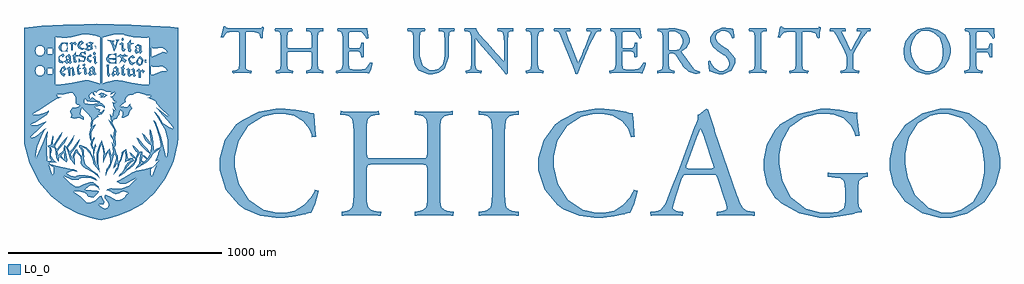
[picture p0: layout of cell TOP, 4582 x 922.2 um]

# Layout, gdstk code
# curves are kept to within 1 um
import gdstk
lib = gdstk.Library(unit=1e-6, precision=1e-09)
def R(c, l, rs):  # rectangles x0, y0, x1, y1
    for r in rs: c.add(gdstk.rectangle(r[:2], r[2:], *l))
def P(c, l, *ps):  # polygons
    for p in ps: c.add(gdstk.Polygon(p, *l))
L0_0 = (0, 0)

top = lib.new_cell('TOP')
R(top, L0_0, [(-1725,287.1,-1717,291.1)])
P(top, L0_0, [(-1929,-461.1),(-1943,-459.1),(-1981,-449.1),(-2037,-431.1),(-2099,-397.1),(-2163,-349.1),(-2221,-281.1),(-2267,-189.1),(-2289,-101.1),(-2291,-73.1),(-2291,443.1),(-2207,451.1),(-2107,457.1),(-1977,459.1),(-1949,461.1),(-1787,457.1),(-1605,447.1),(-1567,443.1),(-1567,413.1),(-2013,413.1),(-2059,401.1),(-2069,397.1),(-2087,395.1),(-2113,395.1),(-2145,399.1),(-2145,359.1),(-2221,359.1),(-2233,351.1),(-2239,335.1),(-2233,319.1),(-2221,311.1),(-2211,311.1),(-2199,319.1),(-2193,335.1),(-2199,351.1),(-2211,359.1),(-2145,359.1),(-2145,347.1),(-2183,347.1),(-2183,319.1),(-2155,319.1),(-2155,347.1),(-2145,347.1),(-2145,265.1),(-2221,265.1),(-2233,257.1),(-2239,241.1),(-2233,225.1),(-2221,217.1),(-2211,217.1),(-2199,225.1),(-2193,241.1),(-2199,257.1),(-2211,265.1),(-2145,265.1),(-2145,253.1),(-2183,253.1),(-2183,225.1),(-2155,225.1),(-2155,253.1),(-2145,253.1),(-2145,175.1),(-2133,175.1),(-2065,185.1),(-2005,197.1),(-1997,197.1),(-1953,187.1),(-1933,179.1),(-1933,397.1),(-1953,405.1),(-1997,413.1),(-1863,413.1),(-1901,403.1),(-1923,395.1),(-1923,179.1),(-1907,187.1),(-1867,197.1),(-1849,197.1),(-1741,177.1),(-1703,175.1),(-1703,397.1),(-1713,395.1),(-1777,397.1),(-1819,407.1),(-1821,409.1),(-1851,413.1),(-1567,413.1),(-1567,351.1),(-1693,351.1),(-1693,309.1),(-1691,307.1),(-1667,315.1),(-1639,329.1),(-1619,325.1),(-1623,337.1),(-1641,349.1),(-1651,349.1),(-1663,345.1),(-1687,347.1),(-1693,351.1),(-1567,351.1),(-1567,263.1),(-1695,263.1),(-1695,221.1),(-1679,223.1),(-1651,235.1),(-1645,239.1),(-1619,237.1),(-1623,249.1),(-1641,261.1),(-1657,259.1),(-1687,259.1),(-1695,263.1),(-1567,263.1),(-1567,151.1),(-1933,151.1),(-1949,141.1),(-1949,137.1),(-1961,141.1),(-1963,139.1),(-1957,123.1),(-1959,123.1),(-1967,129.1),(-1971,139.1),(-1973,137.1),(-2079,137.1),(-2081,135.1),(-2111,127.1),(-2135,131.1),(-2135,135.1),(-2137,131.1),(-2133,117.1),(-2115,115.1),(-2137,109.1),(-2251,37.1),(-2245,35.1),(-2227,35.1),(-2201,41.1),(-2175,53.1),(-2175,49.1),(-2185,35.1),(-2207,17.1),(-2235,-0.9),(-2259,-12.9),(-2253,-14.9),(-2231,-14.9),(-2207,-6.9),(-2191,1.1),(-2187,1.1),(-2257,-67.1),(-2261,-73.1),(-2257,-75.1),(-2239,-69.1),(-2221,-57.1),(-2197,-32.9),(-2187,-28.9),(-2195,-38.9),(-2211,-69.1),(-2229,-113.1),(-2237,-151.1),(-2235,-167.1),(-2233,-169.1),(-2203,-99.1),(-2189,-61.1),(-2181,-44.9),(-2179,-44.9),(-2185,-85.1),(-2185,-139.1),(-2181,-177.1),(-2179,-187.1),(-2177,-185.1),(-2163,-181.1),(-2165,-173.1),(-2167,-173.1),(-2169,-169.1),(-2171,-147.1),(-2169,-127.1),(-2179,-113.1),(-2179,-111.1),(-2165,-107.1),(-2155,-65.1),(-2151,-71.1),(-2153,-73.1),(-2157,-95.1),(-2157,-107.1),(-2153,-109.1),(-2123,-63.1),(-2111,-49.1),(-2123,-77.1),(-2147,-113.1),(-2137,-127.1),(-2091,-71.1),(-2087,-69.1),(-2091,-79.1),(-2107,-105.1),(-2135,-137.1),(-2133,-147.1),(-2133,-159.1),(-2105,-133.1),(-2101,-109.1),(-2091,-115.1),(-2091,-117.1),(-2055,-63.1),(-2067,-95.1),(-2085,-121.1),(-2075,-141.1),(-2041,-95.1),(-2029,-81.1),(-2031,-91.1),(-2041,-109.1),(-2045,-113.1),(-2045,-115.1),(-2059,-135.1),(-2071,-149.1),(-2071,-153.1),(-2061,-179.1),(-2061,-155.1),(-2047,-131.1),(-2041,-127.1),(-2041,-131.1),(-2035,-145.1),(-2021,-161.1),(-2017,-159.1),(-2017,-151.1),(-2021,-133.1),(-2031,-119.1),(-2031,-109.1),(-2023,-109.1),(-1999,-119.1),(-1981,-137.1),(-1973,-157.1),(-1967,-165.1),(-1967,-127.1),(-1971,-125.1),(-1977,-107.1),(-1975,-89.1),(-1979,-85.1),(-1985,-55.1),(-1977,-28.9),(-1975,-26.9),(-1977,-22.9),(-1977,-4.9),(-1973,9.1),(-1975,11.1),(-1975,19.1),(-2015,61.1),(-2017,69.1),(-2025,53.1),(-2027,35.1),(-2011,23.1),(-2011,11.1),(-2031,19.1),(-2053,15.1),(-2071,19.1),(-2067,35.1),(-2071,41.1),(-2073,53.1),(-2061,67.1),(-2061,69.1),(-2049,67.1),(-2031,75.1),(-2029,79.1),(-2041,81.1),(-2047,87.1),(-2047,117.1),(-2063,137.1),(-1973,137.1),(-1985,125.1),(-1983,111.1),(-2001,111.1),(-2007,105.1),(-2009,93.1),(-2005,87.1),(-1975,83.1),(-1943,87.1),(-1939,83.1),(-1947,93.1),(-1951,95.1),(-1981,95.1),(-1995,97.1),(-2001,107.1),(-2001,111.1),(-1983,111.1),(-1983,107.1),(-1979,103.1),(-1979,107.1),(-1971,115.1),(-1957,107.1),(-1957,103.1),(-1951,103.1),(-1937,97.1),(-1929,87.1),(-1925,87.1),(-1911,73.1),(-1911,65.1),(-1913,65.1),(-1923,75.1),(-1941,77.1),(-1945,73.1),(-1959,71.1),(-1949,61.1),(-1947,63.1),(-1943,63.1),(-1933,57.1),(-1939,45.1),(-1927,45.1),(-1917,57.1),(-1915,57.1),(-1915,53.1),(-1927,37.1),(-1947,31.1),(-1939,25.1),(-1945,25.1),(-1965,7.1),(-1971,-18.9),(-1959,-12.9),(-1955,-12.9),(-1975,-49.1),(-1975,-79.1),(-1971,-83.1),(-1963,-73.1),(-1963,-71.1),(-1959,-75.1),(-1965,-91.1),(-1969,-95.1),(-1971,-109.1),(-1963,-121.1),(-1961,-119.1),(-1957,-103.1),(-1951,-117.1),(-1957,-119.1),(-1963,-153.1),(-1953,-197.1),(-1947,-205.1),(-1949,-199.1),(-1949,-143.1),(-1927,-85.1),(-1921,-105.1),(-1925,-105.1),(-1933,-115.1),(-1943,-151.1),(-1943,-193.1),(-1935,-235.1),(-1939,-227.1),(-1955,-209.1),(-1965,-193.1),(-1971,-171.1),(-1983,-147.1),(-2001,-125.1),(-2019,-115.1),(-2025,-115.1),(-2011,-133.1),(-2011,-153.1),(-2009,-159.1),(-2011,-169.1),(-2003,-199.1),(-1975,-223.1),(-1947,-243.1),(-1937,-259.1),(-1937,-265.1),(-1941,-259.1),(-1961,-241.1),(-2001,-219.1),(-2015,-207.1),(-2025,-195.1),(-2023,-179.1),(-2025,-165.1),(-2043,-145.1),(-2043,-141.1),(-2047,-145.1),(-2055,-163.1),(-2053,-179.1),(-2053,-201.1),(-2067,-181.1),(-2073,-175.1),(-2085,-137.1),(-2095,-119.1),(-2097,-121.1),(-2095,-143.1),(-2103,-143.1),(-2117,-157.1),(-2117,-159.1),(-2107,-173.1),(-2099,-179.1),(-2101,-171.1),(-2103,-143.1),(-2095,-143.1),(-2089,-177.1),(-2087,-181.1),(-2093,-189.1),(-2121,-165.1),(-2123,-161.1),(-2125,-163.1),(-2129,-177.1),(-2127,-185.1),(-2131,-183.1),(-2139,-167.1),(-2147,-123.1),(-2163,-115.1),(-2167,-115.1),(-2161,-133.1),(-2165,-149.1),(-2165,-159.1),(-2151,-179.1),(-2137,-191.1),(-2145,-189.1),(-2167,-189.1),(-2173,-195.1),(-2155,-201.1),(-2175,-201.1),(-2159,-247.1),(-2151,-241.1),(-2151,-215.1),(-2155,-209.1),(-2173,-201.1),(-2155,-201.1),(-2143,-205.1),(-2077,-219.1),(-2057,-221.1),(-2045,-227.1),(-2041,-233.1),(-2061,-229.1),(-2087,-237.1),(-2093,-243.1),(-2089,-243.1),(-2071,-253.1),(-2047,-257.1),(-2043,-253.1),(-2033,-251.1),(-2003,-249.1),(-1975,-255.1),(-1957,-265.1),(-1947,-275.1),(-1975,-265.1),(-2003,-261.1),(-2025,-265.1),(-2031,-267.1),(-2035,-271.1),(-2067,-271.1),(-2107,-251.1),(-2105,-257.1),(-2075,-287.1),(-2049,-305.1),(-2033,-305.1),(-2011,-293.1),(-1983,-283.1),(-1967,-283.1),(-1939,-303.1),(-1937,-317.1),(-1941,-311.1),(-1957,-299.1),(-1979,-297.1),(-2003,-315.1),(-2007,-321.1),(-2003,-319.1),(-1947,-323.1),(-1941,-325.1),(-1943,-331.1),(-1951,-341.1),(-1967,-355.1),(-1989,-351.1),(-1991,-347.1),(-1993,-347.1),(-1995,-341.1),(-2005,-333.1),(-2025,-327.1),(-2059,-325.1),(-2027,-349.1),(-2005,-369.1),(-1999,-377.1),(-1979,-379.1),(-1955,-367.1),(-1935,-349.1),(-1927,-345.1),(-1927,-351.1),(-1915,-373.1),(-1919,-389.1),(-1937,-387.1),(-1941,-385.1),(-1937,-391.1),(-1925,-401.1),(-1913,-407.1),(-1899,-403.1),(-1895,-399.1),(-1893,-385.1),(-1911,-357.1),(-1911,-345.1),(-1907,-341.1),(-1885,-351.1),(-1859,-367.1),(-1849,-367.1),(-1833,-363.1),(-1819,-353.1),(-1811,-341.1),(-1799,-335.1),(-1803,-331.1),(-1825,-325.1),(-1841,-331.1),(-1845,-335.1),(-1861,-339.1),(-1877,-331.1),(-1881,-327.1),(-1901,-321.1),(-1903,-323.1),(-1899,-315.1),(-1883,-311.1),(-1871,-313.1),(-1829,-311.1),(-1803,-301.1),(-1799,-301.1),(-1761,-263.1),(-1813,-289.1),(-1839,-289.1),(-1855,-281.1),(-1851,-275.1),(-1843,-273.1),(-1811,-255.1),(-1781,-235.1),(-1765,-229.1),(-1725,-221.1),(-1685,-209.1),(-1655,-179.1),(-1675,-183.1),(-1661,-151.1),(-1661,-145.1),(-1651,-127.1),(-1671,-137.1),(-1685,-149.1),(-1697,-167.1),(-1713,-187.1),(-1741,-187.1),(-1745,-199.1),(-1733,-191.1),(-1741,-187.1),(-1713,-187.1),(-1729,-199.1),(-1769,-221.1),(-1751,-195.1),(-1747,-175.1),(-1745,-151.1),(-1747,-147.1),(-1751,-151.1),(-1761,-173.1),(-1763,-183.1),(-1775,-203.1),(-1795,-219.1),(-1803,-223.1),(-1817,-239.1),(-1841,-255.1),(-1847,-255.1),(-1841,-245.1),(-1835,-241.1),(-1823,-227.1),(-1815,-207.1),(-1805,-191.1),(-1791,-181.1),(-1785,-179.1),(-1809,-183.1),(-1819,-189.1),(-1815,-185.1),(-1813,-161.1),(-1815,-135.1),(-1825,-147.1),(-1827,-157.1),(-1835,-179.1),(-1843,-193.1),(-1843,-201.1),(-1851,-223.1),(-1869,-247.1),(-1857,-217.1),(-1851,-213.1),(-1851,-201.1),(-1853,-193.1),(-1863,-211.1),(-1873,-217.1),(-1857,-173.1),(-1857,-165.1),(-1863,-153.1),(-1863,-149.1),(-1869,-155.1),(-1885,-209.1),(-1893,-219.1),(-1903,-239.1),(-1907,-253.1),(-1905,-225.1),(-1893,-207.1),(-1887,-195.1),(-1887,-169.1),(-1893,-143.1),(-1899,-147.1),(-1915,-177.1),(-1919,-191.1),(-1919,-157.1),(-1917,-151.1),(-1925,-105.1),(-1921,-105.1),(-1917,-115.1),(-1911,-143.1),(-1911,-151.1),(-1889,-125.1),(-1881,-163.1),(-1873,-139.1),(-1877,-105.1),(-1881,-95.1),(-1875,-101.1),(-1871,-109.1),(-1869,-109.1),(-1871,-83.1),(-1875,-81.1),(-1883,-67.1),(-1883,-57.1),(-1879,-65.1),(-1873,-73.1),(-1871,-73.1),(-1867,-36.9),(-1871,-26.9),(-1887,-6.9),(-1893,11.1),(-1883,1.1),(-1883,-0.9),(-1881,1.1),(-1883,15.1),(-1889,35.1),(-1887,37.1),(-1887,35.1),(-1885,35.1),(-1877,25.1),(-1873,53.1),(-1875,61.1),(-1861,53.1),(-1859,55.1),(-1861,55.1),(-1871,77.1),(-1871,83.1),(-1877,93.1),(-1873,91.1),(-1863,91.1),(-1861,95.1),(-1867,97.1),(-1875,107.1),(-1875,111.1),(-1885,119.1),(-1871,123.1),(-1863,137.1),(-1863,141.1),(-1881,131.1),(-1885,131.1),(-1877,141.1),(-1877,143.1),(-1883,139.1),(-1905,143.1),(-1927,151.1),(-1567,151.1),(-1567,137.1),(-1759,137.1),(-1769,135.1),(-1783,127.1),(-1783,129.1),(-1791,129.1),(-1805,123.1),(-1807,119.1),(-1809,119.1),(-1815,107.1),(-1813,95.1),(-1831,81.1),(-1837,79.1),(-1839,71.1),(-1825,73.1),(-1819,69.1),(-1805,71.1),(-1793,85.1),(-1793,73.1),(-1789,73.1),(-1783,65.1),(-1785,59.1),(-1789,57.1),(-1797,43.1),(-1799,33.1),(-1803,29.1),(-1823,19.1),(-1829,19.1),(-1831,23.1),(-1827,35.1),(-1827,47.1),(-1843,57.1),(-1841,55.1),(-1845,33.1),(-1849,29.1),(-1855,15.1),(-1871,11.1),(-1873,13.1),(-1877,-6.9),(-1871,-12.9),(-1859,-40.9),(-1863,-73.1),(-1863,-83.1),(-1861,-89.1),(-1861,-109.1),(-1867,-119.1),(-1855,-153.1),(-1851,-157.1),(-1851,-173.1),(-1849,-187.1),(-1847,-189.1),(-1837,-169.1),(-1831,-149.1),(-1831,-141.1),(-1813,-127.1),(-1811,-127.1),(-1805,-173.1),(-1795,-171.1),(-1781,-171.1),(-1775,-181.1),(-1793,-193.1),(-1807,-211.1),(-1813,-223.1),(-1775,-191.1),(-1773,-191.1),(-1769,-175.1),(-1769,-173.1),(-1791,-155.1),(-1795,-141.1),(-1767,-167.1),(-1757,-145.1),(-1773,-127.1),(-1777,-121.1),(-1781,-109.1),(-1771,-117.1),(-1749,-141.1),(-1747,-139.1),(-1737,-139.1),(-1735,-153.1),(-1725,-159.1),(-1735,-159.1),(-1739,-181.1),(-1729,-187.1),(-1727,-187.1),(-1715,-175.1),(-1735,-159.1),(-1725,-159.1),(-1713,-171.1),(-1701,-153.1),(-1699,-153.1),(-1699,-151.1),(-1743,-109.1),(-1759,-81.1),(-1761,-73.1),(-1755,-77.1),(-1729,-109.1),(-1713,-125.1),(-1703,-139.1),(-1697,-143.1),(-1693,-109.1),(-1705,-103.1),(-1721,-85.1),(-1737,-53.1),(-1725,-63.1),(-1693,-101.1),(-1695,-97.1),(-1701,-55.1),(-1701,-36.9),(-1699,-36.9),(-1697,-38.9),(-1687,-75.1),(-1681,-125.1),(-1683,-137.1),(-1667,-125.1),(-1649,-119.1),(-1649,-105.1),(-1655,-69.1),(-1669,-24.9),(-1681,3.1),(-1681,9.1),(-1673,-0.9),(-1649,-67.1),(-1625,-165.1),(-1623,-165.1),(-1619,-157.1),(-1615,-135.1),(-1615,-85.1),(-1627,-38.9),(-1631,-34.9),(-1633,-28.9),(-1679,45.1),(-1677,47.1),(-1659,27.1),(-1639,-4.9),(-1635,-8.9),(-1609,-24.9),(-1591,-30.9),(-1595,-20.9),(-1615,5.1),(-1669,67.1),(-1667,67.1),(-1657,57.1),(-1623,31.1),(-1609,27.1),(-1651,67.1),(-1671,89.1),(-1673,97.1),(-1695,109.1),(-1701,109.1),(-1701,111.1),(-1711,113.1),(-1703,115.1),(-1695,121.1),(-1695,123.1),(-1717,125.1),(-1719,127.1),(-1755,137.1),(-1567,137.1),(-1567,-73.1),(-1569,-99.1),(-1587,-181.1),(-1595,-199.1),(-1667,-199.1),(-1693,-219.1),(-1695,-225.1),(-1697,-249.1),(-1689,-253.1),(-1667,-199.1),(-1595,-199.1),(-1627,-267.1),(-1679,-335.1),(-1737,-385.1),(-1797,-419.1),(-1851,-441.1),(-1897,-455.1)],
  [(-1309,229.1),(-1313,233.1),(-1311,241.1),(-1295,243.1),(-1283,249.1),(-1281,271.1),(-1281,419.1),(-1287,423.1),(-1313,423.1),(-1339,419.1),(-1343,415.1),(-1355,397.1),(-1355,395.1),(-1367,397.1),(-1355,447.1),(-1349,449.1),(-1345,447.1),(-1345,445.1),(-1329,439.1),(-1181,439.1),(-1175,443.1),(-1173,447.1),(-1165,445.1),(-1169,419.1),(-1169,395.1),(-1173,393.1),(-1181,395.1),(-1181,399.1),(-1187,417.1),(-1215,423.1),(-1251,423.1),(-1251,271.1),(-1249,249.1),(-1239,243.1),(-1223,241.1),(-1221,235.1),(-1225,231.1),(-1225,229.1),(-1257,231.1)],
  [(1303,229.1),(1301,233.1),(1303,241.1),(1319,243.1),(1329,249.1),(1333,271.1),(1333,419.1),(1327,423.1),(1301,423.1),(1275,419.1),(1259,399.1),(1259,395.1),(1247,397.1),(1257,443.1),(1259,447.1),(1265,449.1),(1269,447.1),(1269,445.1),(1285,439.1),(1433,439.1),(1439,443.1),(1439,447.1),(1449,445.1),(1445,419.1),(1445,395.1),(1439,393.1),(1433,395.1),(1425,417.1),(1399,423.1),(1363,423.1),(1363,271.1),(1365,249.1),(1375,243.1),(1391,241.1),(1393,235.1),(1391,235.1),(1389,229.1),(1357,231.1)],
  [(971,225.1),(947,231.1),(929,237.1),(929,239.1),(927,239.1),(923,257.1),(921,285.1),(925,287.1),(933,285.1),(933,279.1),(949,255.1),(975,239.1),(989,239.1),(1011,251.1),(1019,267.1),(1019,277.1),(1015,293.1),(1001,311.1),(995,313.1),(965,333.1),(943,353.1),(931,379.1),(931,397.1),(949,427.1),(985,443.1),(1003,443.1),(1037,437.1),(1039,435.1),(1043,407.1),(1043,395.1),(1039,393.1),(1031,395.1),(1031,399.1),(1021,419.1),(999,429.1),(985,429.1),(963,417.1),(957,403.1),(957,391.1),(967,375.1),(983,361.1),(1013,341.1),(1047,299.1),(1047,275.1),(1029,241.1),(991,225.1)],
  [(1939,225.1),(1901,235.1),(1867,259.1),(1845,293.1),(1839,323.1),(1839,343.1),(1847,377.1),(1871,411.1),(1905,435.1),(1939,443.1),(1963,443.1),(1999,433.1),(2005,429.1),(1939,429.1),(1919,425.1),(1897,409.1),(1881,383.1),(1873,353.1),(1873,333.1),(1877,309.1),(1891,277.1),(1915,251.1),(1945,239.1),(1961,239.1),(1979,245.1),(2001,259.1),(2017,285.1),(2023,315.1),(2023,335.1),(2019,361.1),(2007,395.1),(1981,419.1),(1955,429.1),(2005,429.1),(2033,409.1),(2053,373.1),(2059,345.1),(2059,325.1),(2051,291.1),(2029,257.1),(1993,233.1),(1961,225.1)],
  [(2125,229.1),(2123,233.1),(2123,241.1),(2137,243.1),(2147,249.1),(2149,271.1),(2149,397.1),(2147,419.1),(2133,427.1),(2127,427.1),(2125,433.1),(2127,439.1),(2265,439.1),(2267,395.1),(2265,395.1),(2261,391.1),(2255,393.1),(2253,399.1),(2235,423.1),(2185,423.1),(2179,417.1),(2179,347.1),(2185,343.1),(2215,343.1),(2235,345.1),(2239,351.1),(2243,367.1),(2247,369.1),(2255,367.1),(2255,303.1),(2243,303.1),(2239,317.1),(2231,327.1),(2185,327.1),(2179,323.1),(2179,271.1),(2183,249.1),(2193,243.1),(2209,241.1),(2207,229.1),(2175,231.1)],
  [(-823,229.1),(-827,233.1),(-825,241.1),(-809,243.1),(-799,249.1),(-795,271.1),(-795,397.1),(-799,419.1),(-813,427.1),(-819,427.1),(-821,433.1),(-819,439.1),(-679,439.1),(-675,399.1),(-673,395.1),(-675,395.1),(-675,393.1),(-679,391.1),(-687,395.1),(-687,399.1),(-707,423.1),(-761,423.1),(-767,417.1),(-767,351.1),(-761,347.1),(-715,347.1),(-715,349.1),(-709,355.1),(-707,371.1),(-701,373.1),(-695,371.1),(-695,307.1),(-699,305.1),(-707,305.1),(-709,321.1),(-717,329.1),(-735,331.1),(-761,331.1),(-767,327.1),(-767,275.1),(-763,253.1),(-761,251.1),(-751,247.1),(-717,245.1),(-687,249.1),(-667,277.1),(-665,279.1),(-659,279.1),(-655,277.1),(-655,275.1),(-653,275.1),(-655,275.1),(-661,251.1),(-669,229.1),(-733,231.1),(-789,231.1)],
  [(459,229.1),(457,233.1),(457,241.1),(473,243.1),(483,249.1),(487,271.1),(487,397.1),(483,419.1),(469,427.1),(463,427.1),(461,433.1),(463,439.1),(603,439.1),(607,405.1),(609,399.1),(609,395.1),(607,395.1),(603,391.1),(597,393.1),(595,399.1),(579,421.1),(575,423.1),(521,423.1),(517,417.1),(517,351.1),(521,347.1),(567,347.1),(567,349.1),(573,355.1),(577,371.1),(583,373.1),(587,371.1),(587,369.1),(589,369.1),(587,357.1),(587,319.1),(589,307.1),(577,305.1),(577,307.1),(575,307.1),(573,321.1),(567,329.1),(547,331.1),(521,331.1),(517,327.1),(517,275.1),(521,251.1),(531,247.1),(565,245.1),(597,249.1),(617,277.1),(617,279.1),(623,279.1),(627,277.1),(627,275.1),(629,275.1),(615,231.1),(613,229.1),(551,231.1),(493,231.1)],
  [(-29,225.1),(-29,227.1),(-31,227.1),(-41,241.1),(-173,393.1),(-173,269.1),(-169,247.1),(-157,243.1),(-143,241.1),(-141,235.1),(-145,231.1),(-145,229.1),(-173,231.1),(-215,229.1),(-215,231.1),(-219,235.1),(-217,241.1),(-205,243.1),(-193,249.1),(-191,275.1),(-191,403.1),(-195,417.1),(-199,421.1),(-213,425.1),(-215,427.1),(-221,427.1),(-223,433.1),(-221,439.1),(-169,439.1),(-169,437.1),(-153,413.1),(-117,371.1),(-37,283.1),(-37,369.1),(-39,401.1),(-43,421.1),(-61,427.1),(-67,427.1),(-69,435.1),(-67,439.1),(5,439.1),(7,435.1),(5,427.1),(-1,427.1),(-17,419.1),(-21,371.1),(-21,275.1),(-19,229.1),(-25,225.1)],
  [(-393,225.1),(-439,243.1),(-443,247.1),(-457,271.1),(-463,305.1),(-463,397.1),(-467,419.1),(-477,427.1),(-489,427.1),(-491,433.1),(-489,439.1),(-409,439.1),(-407,433.1),(-409,427.1),(-421,427.1),(-431,419.1),(-433,397.1),(-433,309.1),(-419,263.1),(-385,243.1),(-367,243.1),(-343,251.1),(-325,269.1),(-317,295.1),(-315,317.1),(-315,373.1),(-319,421.1),(-331,427.1),(-343,427.1),(-345,433.1),(-343,439.1),(-271,439.1),(-269,435.1),(-271,427.1),(-281,427.1),(-293,421.1),(-295,417.1),(-297,391.1),(-297,307.1),(-315,253.1),(-323,245.1),(-345,231.1),(-371,225.1)],
  [(303,225.1),(297,227.1),(297,231.1),(285,265.1),(229,403.1),(219,421.1),(205,427.1),(199,427.1),(197,433.1),(199,439.1),(271,439.1),(275,433.1),(273,427.1),(267,427.1),(265,425.1),(255,423.1),(255,421.1),(267,385.1),(311,279.1),(329,319.1),(329,323.1),(341,347.1),(365,409.1),(367,411.1),(369,423.1),(357,427.1),(351,427.1),(349,433.1),(351,439.1),(417,439.1),(419,435.1),(417,427.1),(407,427.1),(393,419.1),(361,355.1),(359,345.1),(341,309.1),(339,301.1),(323,265.1),(309,227.1)],
  [(-1107,229.1),(-1109,233.1),(-1109,241.1),(-1097,243.1),(-1087,249.1),(-1085,271.1),(-1085,397.1),(-1089,419.1),(-1101,427.1),(-1111,427.1),(-1113,433.1),(-1111,439.1),(-1033,439.1),(-1031,433.1),(-1029,433.1),(-1031,427.1),(-1039,427.1),(-1053,419.1),(-1055,397.1),(-1055,353.1),(-1053,347.1),(-943,347.1),(-941,353.1),(-941,397.1),(-943,419.1),(-957,427.1),(-965,427.1),(-967,433.1),(-965,439.1),(-887,439.1),(-885,435.1),(-887,427.1),(-895,427.1),(-909,419.1),(-911,397.1),(-911,271.1),(-909,249.1),(-899,243.1),(-887,241.1),(-885,237.1),(-887,229.1),(-917,231.1),(-965,229.1),(-967,233.1),(-965,241.1),(-955,243.1),(-943,249.1),(-941,271.1),(-941,323.1),(-943,329.1),(-1053,329.1),(-1055,323.1),(-1055,271.1),(-1053,249.1),(-1043,243.1),(-1029,241.1),(-1027,237.1),(-1029,229.1),(-1059,231.1)],
  [(67,229.1),(65,233.1),(65,241.1),(79,243.1),(89,249.1),(91,271.1),(91,397.1),(89,419.1),(75,427.1),(67,427.1),(65,431.1),(67,439.1),(147,439.1),(149,435.1),(147,427.1),(139,427.1),(125,419.1),(121,397.1),(121,271.1),(125,249.1),(135,243.1),(147,241.1),(149,237.1),(147,229.1),(117,231.1)],
  [(1113,229.1),(1111,233.1),(1113,241.1),(1125,243.1),(1137,249.1),(1139,271.1),(1139,397.1),(1137,419.1),(1123,427.1),(1113,427.1),(1111,433.1),(1113,439.1),(1193,439.1),(1197,435.1),(1195,427.1),(1185,427.1),(1171,419.1),(1169,397.1),(1169,271.1),(1171,249.1),(1181,243.1),(1195,241.1),(1197,235.1),(1193,231.1),(1193,229.1),(1163,231.1)],
  [(1545,229.1),(1541,233.1),(1543,241.1),(1557,243.1),(1569,249.1),(1571,271.1),(1571,299.1),(1569,313.1),(1563,329.1),(1523,407.1),(1513,421.1),(1505,425.1),(1491,427.1),(1491,435.1),(1493,439.1),(1565,439.1),(1567,435.1),(1567,427.1),(1561,427.1),(1549,423.1),(1559,399.1),(1591,335.1),(1619,383.1),(1619,387.1),(1631,407.1),(1637,421.1),(1637,423.1),(1629,425.1),(1627,427.1),(1619,427.1),(1619,435.1),(1621,439.1),(1683,439.1),(1685,435.1),(1683,427.1),(1669,425.1),(1639,387.1),(1635,377.1),(1611,339.1),(1603,319.1),(1601,301.1),(1601,271.1),(1603,249.1),(1613,243.1),(1631,241.1),(1631,233.1),(1629,229.1),(1597,231.1)],
  [(857,227.1),(829,235.1),(805,259.1),(785,287.1),(769,315.1),(755,323.1),(747,323.1),(737,319.1),(737,271.1),(739,249.1),(749,243.1),(761,241.1),(763,235.1),(761,229.1),(731,231.1),(683,229.1),(681,233.1),(681,241.1),(695,243.1),(705,249.1),(707,271.1),(707,397.1),(705,417.1),(699,423.1),(685,425.1),(683,431.1),(685,437.1),(767,439.1),(811,429.1),(815,425.1),(751,425.1),(739,423.1),(737,419.1),(737,337.1),(765,337.1),(785,341.1),(789,345.1),(801,371.1),(801,387.1),(791,411.1),(763,425.1),(815,425.1),(825,415.1),(835,391.1),(835,375.1),(819,347.1),(795,331.1),(803,317.1),(853,249.1),(859,245.1),(879,237.1),(883,233.1),(881,229.1)],
  [(-1929,113.1),(-1933,115.1),(-1937,119.1),(-1929,117.1),(-1931,121.1),(-1931,129.1),(-1941,129.1),(-1941,131.1),(-1929,137.1),(-1917,135.1),(-1909,131.1),(-1921,131.1),(-1917,127.1),(-1917,125.1),(-1921,117.1),(-1907,125.1),(-1919,131.1),(-1909,131.1),(-1899,125.1),(-1913,117.1)],
  [(-2021,339.1),(-2033,345.1),(-2041,357.1),(-2039,361.1),(-2039,365.1),(-2031,377.1),(-2023,381.1),(-2019,381.1),(-2015,377.1),(-2025,377.1),(-2027,375.1),(-2031,361.1),(-2029,359.1),(-2019,369.1),(-2025,375.1),(-2025,377.1),(-2015,377.1),(-2011,373.1),(-2027,357.1),(-2029,357.1),(-2029,355.1),(-2023,349.1),(-2009,347.1),(-2007,343.1),(-2009,343.1),(-2015,339.1)],
  [(-1109,-449.1),(-1181,-439.1),(-1255,-409.1),(-1283,-389.1),(-1343,-319.1),(-1373,-227.1),(-1373,-169.1),(-1349,-85.1),(-1295,-10.9),(-1267,9.1),(-1189,47.1),(-1109,61.1),(-1065,61.1),(-1015,57.1),(-959,47.1),(-951,43.1),(-931,41.1),(-929,37.1),(-927,-2.9),(-919,-67.1),(-921,-69.1),(-939,-71.1),(-941,-59.1),(-953,-30.9),(-979,3.1),(-1023,29.1),(-1075,39.1),(-1111,39.1),(-1171,25.1),(-1239,-16.9),(-1283,-87.1),(-1301,-161.1),(-1301,-211.1),(-1283,-289.1),(-1235,-365.1),(-1167,-411.1),(-1103,-427.1),(-1065,-427.1),(-1019,-417.1),(-975,-389.1),(-945,-355.1),(-929,-329.1),(-927,-321.1),(-925,-319.1),(-907,-323.1),(-923,-383.1),(-939,-421.1),(-943,-425.1),(-967,-431.1),(-969,-433.1),(-1015,-443.1),(-1067,-449.1)],
  [(387,-449.1),(315,-439.1),(241,-409.1),(213,-389.1),(153,-319.1),(123,-227.1),(123,-169.1),(149,-85.1),(203,-10.9),(229,9.1),(307,47.1),(389,61.1),(433,61.1),(483,57.1),(537,47.1),(547,43.1),(567,41.1),(577,-69.1),(559,-71.1),(557,-69.1),(555,-59.1),(545,-30.9),(517,3.1),(473,29.1),(423,39.1),(385,39.1),(325,25.1),(259,-16.9),(213,-87.1),(197,-161.1),(197,-211.1),(215,-289.1),(261,-365.1),(331,-411.1),(395,-427.1),(431,-427.1),(479,-417.1),(523,-389.1),(553,-355.1),(571,-319.1),(591,-323.1),(575,-383.1),(555,-425.1),(531,-431.1),(529,-433.1),(481,-443.1),(429,-449.1)],
  [(651,-439.1),(649,-423.1),(651,-421.1),(679,-419.1),(699,-411.1),(717,-389.1),(785,-219.1),(859,-18.9),(863,-12.9),(871,13.1),(873,33.1),(911,61.1),(921,57.1),(923,47.1),(949,-28.9),(885,-28.9),(867,-71.1),(819,-205.1),(819,-215.1),(833,-219.1),(933,-219.1),(947,-215.1),(945,-199.1),(903,-75.1),(903,-71.1),(887,-28.9),(949,-28.9),(1069,-379.1),(1083,-403.1),(1097,-415.1),(1113,-419.1),(1137,-421.1),(1139,-423.1),(1139,-439.1),(1071,-437.1),(961,-439.1),(961,-423.1),(963,-421.1),(987,-419.1),(1009,-409.1),(1009,-397.1),(967,-267.1),(959,-251.1),(943,-247.1),(821,-247.1),(807,-251.1),(799,-261.1),(771,-343.1),(759,-383.1),(755,-399.1),(755,-407.1),(773,-419.1),(801,-421.1),(803,-423.1),(801,-439.1),(731,-437.1)],
  [(1443,-449.1),(1349,-429.1),(1263,-381.1),(1237,-357.1),(1197,-291.1),(1181,-223.1),(1181,-177.1),(1197,-107.1),(1235,-36.9),(1259,-10.9),(1341,37.1),(1447,61.1),(1495,61.1),(1539,57.1),(1575,51.1),(1599,45.1),(1619,43.1),(1621,45.1),(1621,21.1),(1633,-63.1),(1631,-65.1),(1613,-67.1),(1611,-65.1),(1609,-53.1),(1591,-14.9),(1557,17.1),(1513,35.1),(1473,39.1),(1437,39.1),(1367,21.1),(1303,-24.9),(1267,-93.1),(1255,-153.1),(1255,-197.1),(1269,-273.1),(1309,-353.1),(1379,-407.1),(1451,-427.1),(1489,-427.1),(1531,-421.1),(1555,-407.1),(1559,-403.1),(1565,-373.1),(1565,-323.1),(1563,-295.1),(1557,-275.1),(1543,-265.1),(1523,-261.1),(1483,-257.1),(1483,-239.1),(1529,-241.1),(1607,-241.1),(1669,-239.1),(1671,-257.1),(1649,-259.1),(1629,-277.1),(1625,-309.1),(1625,-371.1),(1629,-397.1),(1639,-413.1),(1643,-415.1),(1643,-423.1),(1635,-423.1),(1609,-429.1),(1607,-431.1),(1541,-443.1),(1491,-449.1)],
  [(2007,-449.1),(1925,-429.1),(1843,-373.1),(1791,-295.1),(1773,-223.1),(1773,-173.1),(1791,-95.1),(1847,-12.9),(1929,41.1),(2009,61.1),(2063,61.1),(2147,41.1),(2149,39.1),(2007,39.1),(1963,29.1),(1905,-6.9),(1863,-73.1),(1847,-149.1),(1847,-197.1),(1857,-261.1),(1891,-341.1),(1953,-403.1),(2021,-427.1),(2061,-427.1),(2109,-413.1),(2165,-375.1),(2203,-309.1),(2217,-239.1),(2217,-191.1),(2207,-123.1),(2173,-42.9),(2113,17.1),(2045,39.1),(2149,39.1),(2227,-16.9),(2275,-97.1),(2291,-169.1),(2291,-217.1),(2271,-295.1),(2217,-377.1),(2135,-431.1),(2061,-449.1)],
  [(-799,-439.1),(-799,-421.1),(-779,-419.1),(-761,-413.1),(-749,-399.1),(-745,-373.1),(-743,-339.1),(-743,-49.1),(-745,-14.9),(-751,13.1),(-763,27.1),(-787,33.1),(-805,33.1),(-807,35.1),(-805,53.1),(-795,51.1),(-735,49.1),(-633,51.1),(-625,53.1),(-623,35.1),(-625,33.1),(-639,33.1),(-663,27.1),(-677,13.1),(-681,-14.9),(-683,-49.1),(-683,-151.1),(-677,-167.1),(-653,-169.1),(-427,-169.1),(-403,-167.1),(-397,-151.1),(-397,-49.1),(-399,-14.9),(-403,13.1),(-417,27.1),(-443,33.1),(-457,33.1),(-457,51.1),(-455,53.1),(-447,51.1),(-389,49.1),(-287,51.1),(-279,53.1),(-277,51.1),(-277,33.1),(-293,33.1),(-317,27.1),(-331,13.1),(-337,-14.9),(-337,-373.1),(-331,-399.1),(-317,-413.1),(-299,-419.1),(-273,-421.1),(-275,-439.1),(-343,-437.1),(-457,-439.1),(-457,-421.1),(-437,-419.1),(-417,-413.1),(-403,-399.1),(-399,-373.1),(-397,-339.1),(-397,-217.1),(-403,-203.1),(-427,-199.1),(-653,-199.1),(-677,-203.1),(-683,-217.1),(-683,-339.1),(-681,-373.1),(-675,-401.1),(-663,-413.1),(-643,-419.1),(-615,-421.1),(-617,-439.1),(-687,-437.1)],
  [(-157,-439.1),(-157,-421.1),(-131,-419.1),(-113,-413.1),(-99,-399.1),(-95,-373.1),(-93,-337.1),(-93,-51.1),(-95,-14.9),(-99,13.1),(-113,27.1),(-139,33.1),(-157,33.1),(-157,51.1),(-155,53.1),(-147,51.1),(-41,49.1),(21,51.1),(29,53.1),(31,51.1),(31,33.1),(13,33.1),(-13,27.1),(-27,13.1),(-31,-14.9),(-33,-51.1),(-33,-337.1),(-31,-373.1),(-27,-399.1),(-13,-413.1),(5,-419.1),(31,-421.1),(31,-439.1),(-39,-437.1)],
  [(-1991,335.1),(-2005,341.1),(-1995,351.1),(-1993,351.1),(-1995,353.1),(-2001,365.1),(-1999,367.1),(-1981,377.1),(-1979,377.1),(-1967,371.1),(-1989,371.1),(-1993,367.1),(-1993,365.1),(-1987,361.1),(-1981,361.1),(-1977,365.1),(-1987,371.1),(-1967,371.1),(-1965,369.1),(-1975,361.1),(-1973,361.1),(-1971,359.1),(-1971,353.1),(-1987,353.1),(-1993,347.1),(-1995,347.1),(-1993,345.1),(-1981,339.1),(-1979,339.1),(-1977,349.1),(-1985,353.1),(-1971,353.1),(-1969,343.1),(-1971,343.1),(-1971,341.1),(-1987,335.1)],
  [(-2091,273.1),(-2099,283.1),(-2099,285.1),(-2091,295.1),(-2093,295.1),(-2095,307.1),(-2081,317.1),(-2079,317.1),(-2073,311.1),(-2085,311.1),(-2091,307.1),(-2091,305.1),(-2093,305.1),(-2091,297.1),(-2081,295.1),(-2079,297.1),(-2085,311.1),(-2073,311.1),(-2071,309.1),(-2071,293.1),(-2081,293.1),(-2087,291.1),(-2089,293.1),(-2089,291.1),(-2083,283.1),(-2079,283.1),(-2079,293.1),(-2071,293.1),(-2071,283.1),(-2067,283.1),(-2067,281.1),(-2075,273.1),(-2077,273.1),(-2079,281.1),(-2081,279.1),(-2089,275.1),(-2089,273.1)],
  [(-2105,213.1),(-2105,215.1),(-2117,221.1),(-2123,235.1),(-2123,239.1),(-2113,255.1),(-2103,263.1),(-2101,263.1),(-2097,255.1),(-2109,255.1),(-2111,253.1),(-2115,235.1),(-2115,233.1),(-2101,243.1),(-2101,245.1),(-2109,255.1),(-2097,255.1),(-2093,249.1),(-2093,247.1),(-2113,231.1),(-2099,227.1),(-2095,225.1),(-2097,225.1),(-2103,215.1)],
  [(-1983,217.1),(-1989,227.1),(-1989,229.1),(-1983,239.1),(-1985,251.1),(-1971,261.1),(-1969,261.1),(-1959,253.1),(-1979,253.1),(-1981,251.1),(-1981,243.1),(-1979,243.1),(-1971,239.1),(-1969,239.1),(-1969,247.1),(-1975,253.1),(-1959,253.1),(-1959,237.1),(-1969,237.1),(-1971,235.1),(-1981,237.1),(-1977,225.1),(-1969,227.1),(-1969,237.1),(-1959,237.1),(-1957,231.1),(-1957,227.1),(-1951,227.1),(-1951,225.1),(-1959,219.1),(-1967,223.1),(-1967,225.1),(-1969,225.1),(-1981,217.1)],
  [(-1765,321.1),(-1771,331.1),(-1771,335.1),(-1765,347.1),(-1769,351.1),(-1769,355.1),(-1767,355.1),(-1757,365.1),(-1755,365.1),(-1743,361.1),(-1741,359.1),(-1761,359.1),(-1765,355.1),(-1765,353.1),(-1767,353.1),(-1767,351.1),(-1765,351.1),(-1757,347.1),(-1763,347.1),(-1761,345.1),(-1763,343.1),(-1757,329.1),(-1749,329.1),(-1749,341.1),(-1751,341.1),(-1761,347.1),(-1757,347.1),(-1751,343.1),(-1749,343.1),(-1751,353.1),(-1757,359.1),(-1741,359.1),(-1741,335.1),(-1735,331.1),(-1745,321.1),(-1749,327.1),(-1751,327.1),(-1763,321.1)],
  [(-1751,263.1),(-1761,271.1),(-1765,281.1),(-1765,285.1),(-1749,307.1),(-1745,309.1),(-1739,301.1),(-1753,301.1),(-1757,281.1),(-1745,269.1),(-1743,271.1),(-1739,287.1),(-1739,289.1),(-1753,301.1),(-1739,301.1),(-1731,291.1),(-1731,287.1),(-1737,273.1),(-1737,271.1),(-1747,263.1)],
  [(-1873,213.1),(-1879,221.1),(-1879,227.1),(-1871,237.1),(-1871,239.1),(-1873,239.1),(-1873,249.1),(-1861,261.1),(-1859,261.1),(-1851,253.1),(-1849,253.1),(-1867,253.1),(-1869,249.1),(-1871,249.1),(-1869,239.1),(-1859,237.1),(-1859,247.1),(-1865,253.1),(-1849,253.1),(-1849,235.1),(-1867,235.1),(-1869,233.1),(-1867,225.1),(-1859,227.1),(-1859,235.1),(-1849,235.1),(-1849,233.1),(-1843,229.1),(-1843,231.1),(-1841,229.1),(-1851,217.1),(-1857,223.1),(-1859,223.1),(-1873,215.1)],
  [(-1829,381.1),(-1833,383.1),(-1833,391.1),(-1827,395.1),(-1823,389.1),(-1823,385.1),(-1827,381.1)],
  [(-1867,331.1),(-1877,357.1),(-1887,377.1),(-1889,379.1),(-1897,381.1),(-1897,385.1),(-1867,381.1),(-1867,379.1),(-1869,379.1),(-1873,375.1),(-1873,373.1),(-1863,355.1),(-1863,353.1),(-1855,379.1),(-1861,385.1),(-1861,387.1),(-1845,387.1),(-1845,385.1),(-1853,375.1),(-1859,353.1),(-1867,333.1)],
  [(-1793,327.1),(-1801,333.1),(-1803,363.1),(-1807,367.1),(-1791,385.1),(-1791,371.1),(-1775,369.1),(-1775,367.1),(-1785,365.1),(-1793,365.1),(-1793,341.1),(-1787,339.1),(-1787,337.1)],
  [(-2069,337.1),(-2069,363.1),(-2077,367.1),(-2077,369.1),(-2069,375.1),(-2067,375.1),(-2061,371.1),(-2059,371.1),(-2051,377.1),(-2051,375.1),(-2043,367.1),(-2051,361.1),(-2057,367.1),(-2061,367.1),(-2061,337.1)],
  [(-1827,331.1),(-1827,333.1),(-1833,339.1),(-1833,361.1),(-1841,365.1),(-1845,365.1),(-1833,375.1),(-1831,375.1),(-1825,369.1),(-1825,347.1),(-1823,345.1),(-1813,341.1),(-1821,331.1)],
  [(-2113,329.1),(-2115,331.1),(-2117,331.1),(-2123,337.1),(-2127,347.1),(-2127,353.1),(-2113,371.1),(-2093,371.1),(-2089,373.1),(-2085,373.1),(-2087,351.1),(-2089,351.1),(-2091,359.1),(-2091,363.1),(-2099,369.1),(-2111,365.1),(-2113,363.1),(-2117,351.1),(-2115,339.1),(-2113,339.1),(-2111,335.1),(-2101,333.1),(-2093,337.1),(-2091,339.1),(-2089,349.1),(-2085,349.1),(-2085,345.1),(-2087,337.1),(-2087,333.1),(-2085,329.1),(-2087,329.1),(-2091,331.1)],
  [(-1953,353.1),(-1959,355.1),(-1959,357.1),(-1957,357.1),(-1951,353.1)],
  [(-1953,347.1),(-1957,351.1),(-1951,347.1)],
  [(-2033,281.1),(-2035,297.1),(-2031,297.1),(-2027,289.1),(-2009,287.1),(-2007,289.1),(-2009,299.1),(-2011,301.1),(-2031,309.1),(-2033,311.1),(-2025,325.1),(-2023,327.1),(-2009,327.1),(-2005,329.1),(-2005,331.1),(-2003,331.1),(-2003,327.1),(-2001,319.1),(-2005,319.1),(-2011,323.1),(-2021,325.1),(-2023,323.1),(-2021,313.1),(-2019,313.1),(-2001,307.1),(-2003,291.1),(-2009,283.1),(-2027,285.1),(-2031,283.1),(-2031,281.1)],
  [(-2049,279.1),(-2057,281.1),(-2059,307.1),(-2061,309.1),(-2061,313.1),(-2059,313.1),(-2049,327.1),(-2049,329.1),(-2047,329.1),(-2047,325.1),(-2049,325.1),(-2049,313.1),(-2037,313.1),(-2037,309.1),(-2051,307.1),(-2051,299.1),(-2049,289.1),(-2043,287.1),(-2043,285.1),(-2047,279.1)],
  [(-1963,315.1),(-1965,319.1),(-1965,325.1),(-1961,329.1),(-1955,323.1),(-1955,319.1),(-1959,315.1)],
  [(-1861,273.1),(-1865,275.1),(-1891,275.1),(-1891,277.1),(-1893,277.1),(-1901,283.1),(-1905,293.1),(-1905,299.1),(-1893,317.1),(-1891,317.1),(-1889,319.1),(-1865,321.1),(-1861,323.1),(-1857,323.1),(-1859,305.1),(-1861,305.1),(-1861,309.1),(-1863,311.1),(-1863,313.1),(-1877,317.1),(-1891,311.1),(-1891,309.1),(-1893,309.1),(-1893,299.1),(-1873,299.1),(-1861,301.1),(-1861,303.1),(-1859,301.1),(-1859,291.1),(-1893,295.1),(-1891,285.1),(-1889,283.1),(-1877,277.1),(-1865,281.1),(-1863,283.1),(-1863,285.1),(-1861,287.1),(-1861,289.1),(-1859,289.1),(-1859,273.1)],
  [(-2111,275.1),(-2123,279.1),(-2127,283.1),(-2127,307.1),(-2109,321.1),(-2107,321.1),(-2103,313.1),(-2101,311.1),(-2103,311.1),(-2109,305.1),(-2113,311.1),(-2121,311.1),(-2121,309.1),(-2123,309.1),(-2125,299.1),(-2121,289.1),(-2105,283.1),(-2103,285.1),(-2103,283.1),(-2109,277.1),(-2109,275.1)],
  [(-1845,275.1),(-1843,275.1),(-1835,295.1),(-1835,299.1),(-1843,309.1),(-1843,311.1),(-1851,305.1),(-1853,309.1),(-1851,309.1),(-1839,319.1),(-1837,319.1),(-1829,313.1),(-1829,311.1),(-1819,321.1),(-1819,319.1),(-1807,311.1),(-1805,311.1),(-1807,309.1),(-1817,307.1),(-1825,309.1),(-1825,299.1),(-1809,289.1),(-1819,279.1),(-1819,277.1),(-1819,279.1),(-1829,287.1),(-1829,289.1),(-1843,275.1)],
  [(-1981,277.1),(-1995,287.1),(-1995,289.1),(-1997,291.1),(-1991,307.1),(-1991,309.1),(-1989,309.1),(-1981,317.1),(-1979,317.1),(-1973,313.1),(-1977,307.1),(-1989,307.1),(-1987,291.1),(-1985,291.1),(-1975,287.1),(-1975,289.1),(-1973,287.1),(-1979,277.1)],
  [(-1783,267.1),(-1793,271.1),(-1795,273.1),(-1801,291.1),(-1801,297.1),(-1793,307.1),(-1783,313.1),(-1781,313.1),(-1771,303.1),(-1771,301.1),(-1781,299.1),(-1787,303.1),(-1787,305.1),(-1789,305.1),(-1795,297.1),(-1795,293.1),(-1783,279.1),(-1773,279.1),(-1771,281.1),(-1769,281.1),(-1769,279.1),(-1781,269.1),(-1783,269.1)],
  [(-1955,271.1),(-1961,277.1),(-1961,297.1),(-1967,301.1),(-1969,301.1),(-1959,311.1),(-1957,311.1),(-1953,305.1),(-1953,283.1),(-1947,281.1),(-1951,275.1)],
  [(-1719,279.1),(-1725,281.1),(-1725,285.1),(-1723,285.1),(-1719,283.1),(-1717,283.1),(-1717,279.1)],
  [(-2009,261.1),(-2017,267.1),(-2009,273.1),(-2009,275.1),(-2009,273.1),(-2003,269.1),(-2001,269.1),(-2003,269.1)],
  [(-2029,221.1),(-2037,223.1),(-2039,225.1),(-2041,247.1),(-2043,253.1),(-2033,267.1),(-2033,269.1),(-2031,269.1),(-2033,253.1),(-2025,253.1),(-2025,249.1),(-2033,247.1),(-2031,233.1),(-2025,231.1),(-2023,233.1),(-2023,231.1),(-2029,223.1)],
  [(-1895,213.1),(-1901,221.1),(-1901,245.1),(-1903,269.1),(-1891,269.1),(-1893,267.1),(-1893,229.1),(-1891,229.1),(-1891,227.1),(-1885,225.1),(-1885,223.1),(-1893,213.1)],
  [(-1823,217.1),(-1833,223.1),(-1833,251.1),(-1837,255.1),(-1835,255.1),(-1823,267.1),(-1823,269.1),(-1821,269.1),(-1821,265.1),(-1823,265.1),(-1823,255.1),(-1817,253.1),(-1817,251.1),(-1823,251.1),(-1823,227.1),(-1815,227.1),(-1815,225.1),(-1821,217.1)],
  [(-2063,215.1),(-2065,227.1),(-2065,247.1),(-2069,249.1),(-2071,249.1),(-2075,245.1),(-2075,217.1),(-2081,217.1),(-2083,243.1),(-2087,251.1),(-2087,253.1),(-2079,259.1),(-2077,259.1),(-2073,251.1),(-2063,259.1),(-2057,249.1),(-2055,225.1),(-2053,225.1),(-2051,223.1)],
  [(-2003,221.1),(-2007,227.1),(-2007,247.1),(-2013,249.1),(-2017,251.1),(-2007,259.1),(-2005,259.1),(-1999,251.1),(-1999,233.1),(-1995,229.1),(-1993,229.1),(-2001,221.1)],
  [(-1797,213.1),(-1803,221.1),(-1803,241.1),(-1805,241.1),(-1805,243.1),(-1811,245.1),(-1801,253.1),(-1801,255.1),(-1801,253.1),(-1795,247.1),(-1795,227.1),(-1787,223.1),(-1781,225.1),(-1781,227.1),(-1779,227.1),(-1781,243.1),(-1789,245.1),(-1787,245.1),(-1779,253.1),(-1779,255.1),(-1779,253.1),(-1771,245.1),(-1771,223.1),(-1767,219.1),(-1767,217.1),(-1769,217.1),(-1773,213.1),(-1775,213.1),(-1781,221.1)],
  [(-1753,207.1),(-1753,235.1),(-1763,239.1),(-1753,249.1),(-1751,249.1),(-1751,247.1),(-1743,241.1),(-1735,245.1),(-1735,247.1),(-1723,237.1),(-1731,231.1),(-1731,229.1),(-1739,237.1),(-1741,237.1),(-1743,235.1),(-1743,207.1)])

lib.write_gds('TOP.gds')
